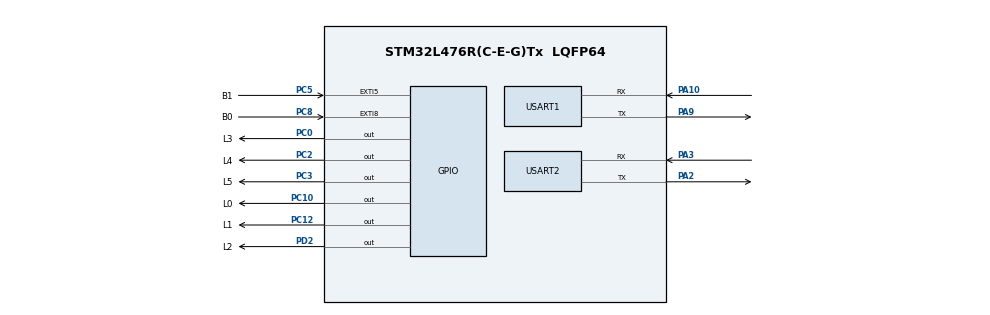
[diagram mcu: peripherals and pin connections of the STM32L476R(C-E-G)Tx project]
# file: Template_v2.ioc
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Mcu.Family=STM32L4
Mcu.Name=STM32L476R(C-E-G)Tx
Mcu.Package=LQFP64
NVIC.EXTI9_5_IRQn=true\:1\:0\:true\:false\:true\:true\:true\:true
NVIC.PriorityGroup=NVIC_PRIORITYGROUP_4
NVIC.USART2_IRQn=true\:1\:0\:true\:false\:true\:true\:true\:true
PA10.Mode=Asynchronous
PA10.Signal=USART1_RX
PA13\ (JTMS-SWDIO).Mode=Serial_Wire
PA13\ (JTMS-SWDIO).Signal=SYS_JTMS-SWDIO
PA14\ (JTCK-SWCLK).Mode=Serial_Wire
PA14\ (JTCK-SWCLK).Signal=SYS_JTCK-SWCLK
PA2.Mode=Asynchronous
PA2.Signal=USART2_TX
PA3.Mode=Asynchronous
PA3.Signal=USART2_RX
PA9.Mode=Asynchronous
PA9.Signal=USART1_TX
PC0.GPIO_Label=L3
PC0.Signal=GPIO_Output
PC10.GPIO_Label=L0
PC10.Signal=GPIO_Output
PC12.GPIO_Label=L1
PC12.Signal=GPIO_Output
PC14-OSC32_IN\ (PC14).Mode=LSE-External-Oscillator
PC14-OSC32_IN\ (PC14).Signal=RCC_OSC32_IN
PC15-OSC32_OUT\ (PC15).Mode=LSE-External-Oscillator
PC15-OSC32_OUT\ (PC15).Signal=RCC_OSC32_OUT
PC2.GPIO_Label=L4
PC2.Signal=GPIO_Output
PC3.GPIO_Label=L5
PC3.Signal=GPIO_Output
PC5.GPIO_Label=B1
PC5.GPIO_PuPd=GPIO_PULLDOWN
PC5.Signal=GPXTI5
PC8.GPIO_Label=B0
PC8.GPIO_ModeDefaultEXTI=GPIO_MODE_IT_FALLING
PC8.GPIO_PuPd=GPIO_PULLUP
PC8.Signal=GPXTI8
PD2.GPIO_Label=L2
PD2.Signal=GPIO_Output
ProjectManager.HeapSize=0x200
ProjectManager.StackSize=0x400
ProjectManager.TargetToolchain=STM32CubeIDE
RCC.HSE_VALUE=8000000
RCC.HSI_VALUE=16000000
RCC.MSI_VALUE=4000000
RCC.VCOOutputFreq_Value=32000000
USART1.VirtualMode-Asynchronous=VM_ASYNC
USART2.VirtualMode-Asynchronous=VM_ASYNC
board=custom

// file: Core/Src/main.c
/* USER CODE BEGIN Header */
/**
  ******************************************************************************
  * @file           : main.c
  * @brief          : Main program body
  ******************************************************************************
  * @attention
  *
  * Copyright (c) 2023 STMicroelectronics.
  * All rights reserved.
  *
  * This software is licensed under terms that can be found in the LICENSE file
  * in the root directory of this software component.
  * If no LICENSE file comes with this software, it is provided AS-IS.
  *
  ******************************************************************************
  */
/* USER CODE END Header */
#include "main.h"
#include "usart.h"
#include "gpio.h"

/* USER CODE BEGIN Includes */
#include <string.h>
/* USER CODE END Includes */

void SystemClock_Config(void);

int main(void)
{

  /* MCU Configuration--------------------------------------------------------*/

  /* Reset of all peripherals, Initializes the Flash interface and the Systick. */
  HAL_Init();

  /* Configure the system clock */
  SystemClock_Config();

  /* Initialize all configured peripherals */
  MX_GPIO_Init();
  MX_USART2_UART_Init();
  MX_USART1_UART_Init();
  /* USER CODE BEGIN 2 */

  /// uart 1
  uart_InstanceInit(&MYLIB_uart1);
  HAL_UART_Receive_IT(&huart1, MYLIB_uart1.rxBuffer + MYLIB_uart1.rxBufferIndex, 1);
  HAL_UART_Transmit_IT(&huart1, (unsigned char*)"Hello World1!\r\n", strlen("Hello World1!\r\n"));

  /// uart 2
  uart_InstanceInit(&MYLIB_uart2);
  HAL_UART_Receive_IT(&huart2, MYLIB_uart2.rxBuffer + MYLIB_uart2.rxBufferIndex, 1);
  HAL_UART_Transmit_IT(&huart2, (unsigned char*)"Hello World!\r\n", strlen("Hello World!\r\n"));

  /// gpio
  gpio_DigOutSetAll(diodesTable, NO_OF_DIODES);
  HAL_Delay(200);
  gpio_DigOutResetAll(diodesTable, NO_OF_DIODES);
  HAL_Delay(120);
  gpio_DigOutSetAll(diodesTable, NO_OF_DIODES);
  HAL_Delay(200);
  gpio_DigOutResetAll(diodesTable, NO_OF_DIODES);
  HAL_Delay(120);
  gpio_DigOutSetAll(diodesTable, NO_OF_DIODES);
  HAL_Delay(200);
  gpio_DigOutResetAll(diodesTable, NO_OF_DIODES);
  HAL_Delay(120);
  gpio_DigOutSet(gpio_GetDiodeMark(), diodesTable);
  /* USER CODE END 2 */

  /* Infinite loop */
  /* USER CODE BEGIN WHILE */
  while (1)
  {
	if(gpio_GetDiodeMarkChange() == 1)
	{
		gpio_DigOutResetAll(diodesTable, NO_OF_DIODES);
		gpio_DigOutSet(gpio_GetDiodeMark(), diodesTable);
		gpio_SetDiodeMarkChange(0);
	}
    /* USER CODE END WHILE */

  }
}

void SystemClock_Config(void)
{
  RCC_OscInitTypeDef RCC_OscInitStruct = {0};
  RCC_ClkInitTypeDef RCC_ClkInitStruct = {0};

  /** Configure the main internal regulator output voltage
  */
  if (HAL_PWREx_ControlVoltageScaling(PWR_REGULATOR_VOLTAGE_SCALE1) != HAL_OK)
  {
    Error_Handler();
  }

  /** Configure LSE Drive Capability
  */
  HAL_PWR_EnableBkUpAccess();
  __HAL_RCC_LSEDRIVE_CONFIG(RCC_LSEDRIVE_LOW);

  /** Initializes the RCC Oscillators according to the specified parameters
  * in the RCC_OscInitTypeDef structure.
  */
  RCC_OscInitStruct.OscillatorType = RCC_OSCILLATORTYPE_LSE|RCC_OSCILLATORTYPE_MSI;
  RCC_OscInitStruct.LSEState = RCC_LSE_ON;
  RCC_OscInitStruct.MSIState = RCC_MSI_ON;
  RCC_OscInitStruct.MSICalibrationValue = 0;
  RCC_OscInitStruct.MSIClockRange = RCC_MSIRANGE_6;
  RCC_OscInitStruct.PLL.PLLState = RCC_PLL_NONE;
  if (HAL_RCC_OscConfig(&RCC_OscInitStruct) != HAL_OK)
  {
    Error_Handler();
  }

  /** Initializes the CPU, AHB and APB buses clocks
  */
  RCC_ClkInitStruct.ClockType = RCC_CLOCKTYPE_HCLK|RCC_CLOCKTYPE_SYSCLK
                              |RCC_CLOCKTYPE_PCLK1|RCC_CLOCKTYPE_PCLK2;
  RCC_ClkInitStruct.SYSCLKSource = RCC_SYSCLKSOURCE_MSI;
  RCC_ClkInitStruct.AHBCLKDivider = RCC_SYSCLK_DIV1;
  RCC_ClkInitStruct.APB1CLKDivider = RCC_HCLK_DIV1;
  RCC_ClkInitStruct.APB2CLKDivider = RCC_HCLK_DIV1;

  if (HAL_RCC_ClockConfig(&RCC_ClkInitStruct, FLASH_LATENCY_0) != HAL_OK)
  {
    Error_Handler();
  }

  /** Enable MSI Auto calibration
  */
  HAL_RCCEx_EnableMSIPLLMode();
}

void Error_Handler(void)
{
  __disable_irq();
  while (1)
  {
  }
}
